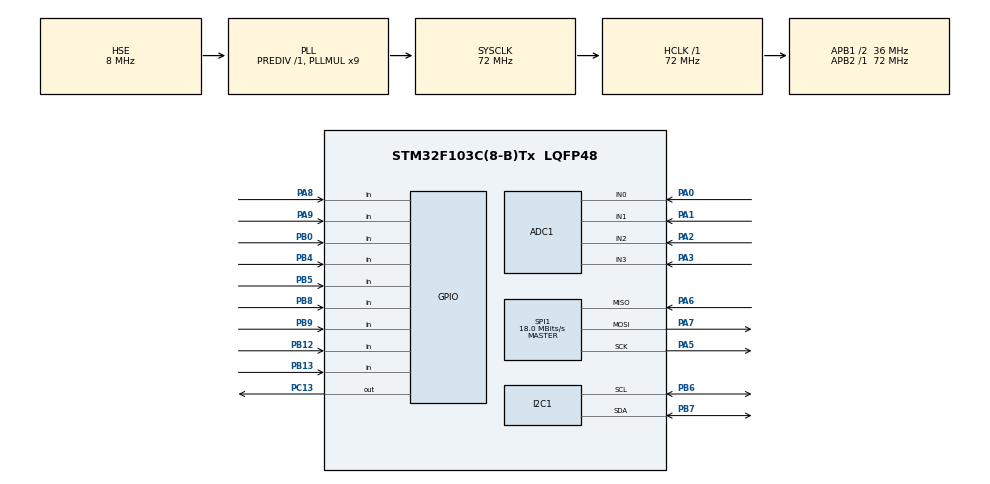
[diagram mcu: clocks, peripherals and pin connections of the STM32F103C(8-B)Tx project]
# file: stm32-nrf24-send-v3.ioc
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ADC1.Channel-0\#ChannelRegularConversion=ADC_CHANNEL_0
ADC1.Channel-1\#ChannelRegularConversion=ADC_CHANNEL_1
ADC1.Channel-2\#ChannelRegularConversion=ADC_CHANNEL_2
ADC1.Channel-3\#ChannelRegularConversion=ADC_CHANNEL_3
ADC1.ContinuousConvMode=DISABLE
ADC1.NbrOfConversion=4
ADC1.NbrOfConversionFlag=1
ADC1.Rank-0\#ChannelRegularConversion=1
ADC1.Rank-1\#ChannelRegularConversion=2
ADC1.Rank-2\#ChannelRegularConversion=3
ADC1.Rank-3\#ChannelRegularConversion=4
ADC1.SamplingTime-0\#ChannelRegularConversion=ADC_SAMPLETIME_55CYCLES_5
ADC1.SamplingTime-1\#ChannelRegularConversion=ADC_SAMPLETIME_55CYCLES_5
ADC1.SamplingTime-2\#ChannelRegularConversion=ADC_SAMPLETIME_55CYCLES_5
ADC1.SamplingTime-3\#ChannelRegularConversion=ADC_SAMPLETIME_55CYCLES_5
ADC1.master=1
Dma.ADC1.0.Direction=DMA_PERIPH_TO_MEMORY
Dma.ADC1.0.Instance=DMA1_Channel1
Dma.ADC1.0.MemDataAlignment=DMA_MDATAALIGN_HALFWORD
Dma.ADC1.0.MemInc=DMA_MINC_ENABLE
Dma.ADC1.0.Mode=DMA_NORMAL
Dma.ADC1.0.PeriphDataAlignment=DMA_PDATAALIGN_HALFWORD
Dma.ADC1.0.PeriphInc=DMA_PINC_DISABLE
Dma.ADC1.0.Priority=DMA_PRIORITY_LOW
Dma.Request0=ADC1
FREERTOS.Queues01=adcQueue,1,8,1,Dynamic,NULL,NULL;oledAdcQueue,1,8,1,Dynamic,NULL,NULL;oledSendDataQueue,1,10,1,Dynamic,NULL,NULL
FREERTOS.Tasks01=defaultTask,8,128,StartDefaultTask,Default,NULL,Dynamic,NULL,NULL;nrf24Task,41,128,StartNrf24Task,Default,NULL,Dynamic,NULL,NULL;adcTask,40,128,StartAdcTask,Default,NULL,Dynamic,NULL,NULL;oledTask,9,128,StartOledTask,Default,NULL,Dynamic,NULL,NULL
Mcu.Family=STM32F1
Mcu.Name=STM32F103C(8-B)Tx
Mcu.Package=LQFP48
NVIC.DMA1_Channel1_IRQn=true\:5\:0\:false\:false\:true\:true\:false\:true\:true
NVIC.PriorityGroup=NVIC_PRIORITYGROUP_4
PA0-WKUP.Signal=ADCx_IN0
PA1.Signal=ADCx_IN1
PA13.Mode=Serial_Wire
PA13.Signal=SYS_JTMS-SWDIO
PA14.Mode=Serial_Wire
PA14.Signal=SYS_JTCK-SWCLK
PA2.Signal=ADCx_IN2
PA3.Signal=ADCx_IN3
PA5.Mode=Full_Duplex_Master
PA5.Signal=SPI1_SCK
PA6.Mode=Full_Duplex_Master
PA6.Signal=SPI1_MISO
PA7.Mode=Full_Duplex_Master
PA7.Signal=SPI1_MOSI
PA8.GPIO_PuPd=GPIO_PULLUP
PA8.Signal=GPIO_Input
PA9.GPIO_PuPd=GPIO_PULLUP
PA9.Signal=GPIO_Input
PB0.GPIO_PuPd=GPIO_PULLUP
PB0.Signal=GPIO_Input
PB12.GPIO_PuPd=GPIO_PULLUP
PB12.Signal=GPIO_Input
PB13.GPIO_PuPd=GPIO_PULLUP
PB13.Signal=GPIO_Input
PB4.GPIO_PuPd=GPIO_PULLUP
PB4.Signal=GPIO_Input
PB5.GPIO_PuPd=GPIO_PULLUP
PB5.Signal=GPIO_Input
PB6.Mode=I2C
PB6.Signal=I2C1_SCL
PB7.Mode=I2C
PB7.Signal=I2C1_SDA
PB8.GPIO_PuPd=GPIO_PULLUP
PB8.Signal=GPIO_Input
PB9.GPIO_PuPd=GPIO_PULLUP
PB9.Signal=GPIO_Input
PC13-TAMPER-RTC.Signal=GPIO_Output
PD0-OSC_IN.Mode=HSE-External-Oscillator
PD0-OSC_IN.Signal=RCC_OSC_IN
PD1-OSC_OUT.Mode=HSE-External-Oscillator
PD1-OSC_OUT.Signal=RCC_OSC_OUT
ProjectManager.HeapSize=0x200
ProjectManager.StackSize=0x400
ProjectManager.TargetToolchain=CMake
RCC.ADCPresc=RCC_ADCPCLK2_DIV6
RCC.AHBFreq_Value=72000000
RCC.APB1CLKDivider=RCC_HCLK_DIV2
RCC.APB1Freq_Value=36000000
RCC.APB1TimFreq_Value=72000000
RCC.APB2Freq_Value=72000000
RCC.APB2TimFreq_Value=72000000
RCC.HCLKFreq_Value=72000000
RCC.PLLMUL=RCC_PLL_MUL9
RCC.PLLSourceVirtual=RCC_PLLSOURCE_HSE
RCC.SYSCLKFreq_VALUE=72000000
RCC.SYSCLKSource=RCC_SYSCLKSOURCE_PLLCLK
RCC.USBFreq_Value=72000000
SH.ADCx_IN0.0=ADC1_IN0,IN0
SH.ADCx_IN1.0=ADC1_IN1,IN1
SH.ADCx_IN2.0=ADC1_IN2,IN2
SH.ADCx_IN3.0=ADC1_IN3,IN3
SPI1.BaudRatePrescaler=SPI_BAUDRATEPRESCALER_4
SPI1.CalculateBaudRate=18.0 MBits/s
SPI1.Direction=SPI_DIRECTION_2LINES
SPI1.Mode=SPI_MODE_MASTER
SPI1.VirtualType=VM_MASTER
VP_FREERTOS_VS_CMSIS_V2.Mode=CMSIS_V2
board=custom

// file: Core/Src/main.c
/* USER CODE BEGIN Header */
/**
  ******************************************************************************
  * @file           : main.c
  * @brief          : Main program body
  ******************************************************************************
  * @attention
  *
  * Copyright (c) 2026 STMicroelectronics.
  * All rights reserved.
  *
  * This software is licensed under terms that can be found in the LICENSE file
  * in the root directory of this software component.
  * If no LICENSE file comes with this software, it is provided AS-IS.
  *
  ******************************************************************************
  */
/* USER CODE END Header */
#include "main.h"
#include "cmsis_os.h"
#include "adc.h"
#include "dma.h"
#include "i2c.h"
#include "spi.h"
#include "gpio.h"

void SystemClock_Config(void);
void MX_FREERTOS_Init(void);

int main(void)
{

  /* MCU Configuration--------------------------------------------------------*/

  /* Reset of all peripherals, Initializes the Flash interface and the Systick. */
  HAL_Init();

  /* Configure the system clock */
  SystemClock_Config();

  /* Initialize all configured peripherals */
  MX_GPIO_Init();
  MX_DMA_Init();
  MX_ADC1_Init();
  MX_I2C1_Init();
  MX_SPI1_Init();

  /* Init scheduler */
  osKernelInitialize();

  /* Call init function for freertos objects (in cmsis_os2.c) */
  MX_FREERTOS_Init();

  /* Start scheduler */
  osKernelStart();

  /* We should never get here as control is now taken by the scheduler */

  /* Infinite loop */
  while (1)
  {

  }
}

void SystemClock_Config(void)
{
  RCC_OscInitTypeDef RCC_OscInitStruct = {0};
  RCC_ClkInitTypeDef RCC_ClkInitStruct = {0};
  RCC_PeriphCLKInitTypeDef PeriphClkInit = {0};

  /** Initializes the RCC Oscillators according to the specified parameters
  * in the RCC_OscInitTypeDef structure.
  */
  RCC_OscInitStruct.OscillatorType = RCC_OSCILLATORTYPE_HSE;
  RCC_OscInitStruct.HSEState = RCC_HSE_ON;
  RCC_OscInitStruct.HSEPredivValue = RCC_HSE_PREDIV_DIV1;
  RCC_OscInitStruct.HSIState = RCC_HSI_ON;
  RCC_OscInitStruct.PLL.PLLState = RCC_PLL_ON;
  RCC_OscInitStruct.PLL.PLLSource = RCC_PLLSOURCE_HSE;
  RCC_OscInitStruct.PLL.PLLMUL = RCC_PLL_MUL9;
  if (HAL_RCC_OscConfig(&RCC_OscInitStruct) != HAL_OK)
  {
    Error_Handler();
  }

  /** Initializes the CPU, AHB and APB buses clocks
  */
  RCC_ClkInitStruct.ClockType = RCC_CLOCKTYPE_HCLK|RCC_CLOCKTYPE_SYSCLK
                              |RCC_CLOCKTYPE_PCLK1|RCC_CLOCKTYPE_PCLK2;
  RCC_ClkInitStruct.SYSCLKSource = RCC_SYSCLKSOURCE_PLLCLK;
  RCC_ClkInitStruct.AHBCLKDivider = RCC_SYSCLK_DIV1;
  RCC_ClkInitStruct.APB1CLKDivider = RCC_HCLK_DIV2;
  RCC_ClkInitStruct.APB2CLKDivider = RCC_HCLK_DIV1;

  if (HAL_RCC_ClockConfig(&RCC_ClkInitStruct, FLASH_LATENCY_2) != HAL_OK)
  {
    Error_Handler();
  }
  PeriphClkInit.PeriphClockSelection = RCC_PERIPHCLK_ADC;
  PeriphClkInit.AdcClockSelection = RCC_ADCPCLK2_DIV6;
  if (HAL_RCCEx_PeriphCLKConfig(&PeriphClkInit) != HAL_OK)
  {
    Error_Handler();
  }
}

void Error_Handler(void)
{
  __disable_irq();
  while (1)
  {
  }
}

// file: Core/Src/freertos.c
/* USER CODE BEGIN Header */
/**
 ******************************************************************************
 * File Name          : freertos.c
 * Description        : Code for freertos applications
 ******************************************************************************
 * @attention
 *
 * Copyright (c) 2026 STMicroelectronics.
 * All rights reserved.
 *
 * This software is licensed under terms that can be found in the LICENSE file
 * in the root directory of this software component.
 * If no LICENSE file comes with this software, it is provided AS-IS.
 *
 ******************************************************************************
 */
/* USER CODE END Header */

#include "FreeRTOS.h"
#include "cmsis_os.h"
#include "main.h"
#include "task.h"

/* USER CODE BEGIN Includes */
#include "adc.h"
#include "nrf24.h"
#include "oled.h"
#include "spi.h"
#include "utils.h"
#include <stdint.h>

/* USER CODE END Includes */

/* Definitions for defaultTask */
osThreadId_t defaultTaskHandle;
const osThreadAttr_t defaultTask_attributes = {
    .name = "defaultTask",
    .stack_size = 128 * 4,
    .priority = (osPriority_t)osPriorityLow,
};
/* Definitions for nrf24Task */
osThreadId_t nrf24TaskHandle;
const osThreadAttr_t nrf24Task_attributes = {
    .name = "nrf24Task",
    .stack_size = 128 * 4,
    .priority = (osPriority_t)osPriorityHigh1,
};
/* Definitions for adcTask */
osThreadId_t adcTaskHandle;
const osThreadAttr_t adcTask_attributes = {
    .name = "adcTask",
    .stack_size = 128 * 4,
    .priority = (osPriority_t)osPriorityHigh,
};
/* Definitions for oledTask */
osThreadId_t oledTaskHandle;
const osThreadAttr_t oledTask_attributes = {
    .name = "oledTask",
    .stack_size = 128 * 4,
    .priority = (osPriority_t)osPriorityLow1,
};
/* Definitions for adcQueue */
osMessageQueueId_t adcQueueHandle;
const osMessageQueueAttr_t adcQueue_attributes = {.name = "adcQueue"};
/* Definitions for oledAdcQueue */
osMessageQueueId_t oledAdcQueueHandle;
const osMessageQueueAttr_t oledAdcQueue_attributes = {.name = "oledAdcQueue"};
/* Definitions for oledSendDataQueue */
osMessageQueueId_t oledSendDataQueueHandle;
const osMessageQueueAttr_t oledSendDataQueue_attributes = {
    .name = "oledSendDataQueue"};

void StartDefaultTask(void *argument);
void StartNrf24Task(void *argument);
void StartAdcTask(void *argument);
void StartOledTask(void *argument);

void MX_FREERTOS_Init(void); /* (MISRA C 2004 rule 8.1) */

void MX_FREERTOS_Init(void) {

  /* Create the queue(s) */
  /* creation of adcQueue */
  adcQueueHandle = osMessageQueueNew(1, 8, &adcQueue_attributes);

  /* creation of oledAdcQueue */
  oledAdcQueueHandle = osMessageQueueNew(1, 8, &oledAdcQueue_attributes);

  /* creation of oledSendDataQueue */
  oledSendDataQueueHandle =
      osMessageQueueNew(1, 10, &oledSendDataQueue_attributes);

  /* Create the thread(s) */
  /* creation of defaultTask */
  defaultTaskHandle =
      osThreadNew(StartDefaultTask, NULL, &defaultTask_attributes);

  /* creation of nrf24Task */
  nrf24TaskHandle = osThreadNew(StartNrf24Task, NULL, &nrf24Task_attributes);

  /* creation of adcTask */
  adcTaskHandle = osThreadNew(StartAdcTask, NULL, &adcTask_attributes);

  /* creation of oledTask */
  oledTaskHandle = osThreadNew(StartOledTask, NULL, &oledTask_attributes);

}

void StartDefaultTask(void *argument) {
  /* USER CODE BEGIN StartDefaultTask */
  /* Infinite loop */
  (void)argument;
  for (;;) {
    // HAL_GPIO_TogglePin(GPIOC, GPIO_PIN_13);
    osDelay(1000);
  }
  /* USER CODE END StartDefaultTask */
}

void StartNrf24Task(void *argument) {
  /* USER CODE BEGIN StartNrf24Task */
  /* Infinite loop */
  (void)argument;
  HAL_GPIO_WritePin(GPIOC, GPIO_PIN_13, SET);
  osStatus_t osStatus;
  uint16_t adcVal[4] = {0, 0, 0, 0};
  uint8_t sendData[10] = {0, 0, 0, 0, 0, 0, 0, 0, 0, 0};

  // 初始化NRF24L01
  NRF24_Init(&hspi1);

  // 检测NRF24L01是否存在
  if (NRF24_Check() != 1) {
    // 未检测到NRF24L01，可以在这里添加错误处理
    while (1)
      ;
  }
  // 设置为发送模式
  NRF24_SetTxMode(nrf24_addr);

  // uint16_t temp_data[5];
  // uint8_t sendData[3] = {0, 0, 100};
  // osStatus_t osStatus;
  for (;;) {
    osStatus = osMessageQueueGet(adcQueueHandle, adcVal, NULL, osWaitForever);

    if (osStatus == osOK) {

      for (uint8_t i = 0; i < sizeof(sendData) / sizeof(sendData[0]); i++) {
        if (adcVal[i] >= 2100)
          sendData[i] = mapVal(2100, 4095, 101, 200, adcVal[i]);
        else if (adcVal[i] <= 1900)
          sendData[i] = mapVal(0, 1900, 0, 99, adcVal[i]);
        else
          sendData[i] = 100;
      }
      if (HAL_GPIO_ReadPin(GPIOB, GPIO_PIN_8) == RESET) {
        // 如果PB12引脚为低电平，则将发送数据取反
        sendData[4] = 0;
      } else if (HAL_GPIO_ReadPin(GPIOB, GPIO_PIN_9) == RESET) {
        // 如果PB12引脚为低电平，则将发送数据取反
        sendData[4] = 200;
      } else {
        sendData[4] = 100;
      }
      if (HAL_GPIO_ReadPin(GPIOB, GPIO_PIN_5) == RESET) {
        // 如果PB12引脚为低电平，则将发送数据取反
        sendData[5] = 0;
      } else if (HAL_GPIO_ReadPin(GPIOB, GPIO_PIN_4) == RESET) {
        // 如果PB12引脚为低电平，则将发送数据取反
        sendData[5] = 200;
      } else {
        sendData[5] = 100;
      }

      if (HAL_GPIO_ReadPin(GPIOB, GPIO_PIN_12) == RESET) {
        // 如果PB12引脚为低电平，则将发送数据取反
        sendData[6] = 0;
      } else if (HAL_GPIO_ReadPin(GPIOB, GPIO_PIN_13) == RESET) {
        // 如果PB12引脚为低电平，则将发送数据取反
        sendData[6] = 200;
      } else {
        sendData[6] = 100;
      }

      if (HAL_GPIO_ReadPin(GPIOA, GPIO_PIN_8) == RESET) {
        // 如果PB12引脚为低电平，则将发送数据取反
        sendData[7] = 0;
      } else if (HAL_GPIO_ReadPin(GPIOA, GPIO_PIN_9) == RESET) {
        // 如果PB12引脚为低电平，则将发送数据取反
        sendData[7] = 200;
      } else {
        sendData[7] = 100;
      }

      osMessageQueuePut(oledSendDataQueueHandle, sendData, 0, 0);
      osMessageQueuePut(oledAdcQueueHandle, adcVal, 0, 0);

      uint8_t status = NRF24_SendData(sendData, 10);
      if (status == 0) {
        // 发送成功
        HAL_GPIO_TogglePin(GPIOC, GPIO_PIN_13);
      } else if (status == 1) {
        // 发送失败，达到最大重发次数
      } else if (status == 2) {
        // 超时未发送成功
      }
    }

    osDelay(20);
  }
  /* USER CODE END StartNrf24Task */
}

void StartAdcTask(void *argument) {
  /* USER CODE BEGIN StartAdcTask */
  /* Infinite loop */
  (void)argument;
  uint16_t adcVal[4] = {0, 0, 0, 0};
  uint16_t old_msg[4] = {0, 0, 0, 0};
  uint16_t queue_count;
  // 校准 ADC
  HAL_ADCEx_Calibration_Start(&hadc1);

  // // 启动第一次 ADC DMA 转换
  // HAL_ADC_Start_DMA(&hadc1, (uint32_t *)adcVal, 4);
  /* Infinite loop */
  for (;;) {

    HAL_ADC_Start_DMA(&hadc1, (uint32_t *)adcVal, 4);

    // 2. 检查队列当前消息数（非阻塞）
    queue_count = osMessageQueueGetCount(adcQueueHandle);

    // 3. 如果队列已满（有未被读取的旧消息），先清空旧消息
    if (queue_count > 0) {
      // 非阻塞读取旧消息（丢弃，不处理）
      osMessageQueueGet(adcQueueHandle, old_msg, NULL, 0);
    }

    osMessageQueuePut(adcQueueHandle, adcVal, 0, 0);
    // tx_data[0] = 0;

    // uint8_t status = NRF24_SendData(tx_data, 5);
    osDelay(20);
  }
  /* USER CODE END StartAdcTask */
}

void StartOledTask(void *argument) {
  /* USER CODE BEGIN StartOledTask */
  /* Infinite loop */
  (void)argument;
  uint16_t oledAdcVal[4] = {0, 0, 0, 0};
  uint8_t oledSendDataVal[10] = {0, 0, 0, 0, 0, 0, 0, 0};
  osStatus_t osAdcStatus;
  osStatus_t osSendDataStatus;
  OLED_Init();
  OLED_ShowString(0, 0, "init");
  OLED_Refresh();
  for (;;) {
    OLED_Clear();
    // 阻塞读取消息（永久等待）
    osAdcStatus =
        osMessageQueueGet(oledAdcQueueHandle, oledAdcVal, NULL, osWaitForever);
    if (osAdcStatus == osOK) {
      OLED_ShowNum(0, 0, oledAdcVal[0]);
      OLED_ShowNum(30, 0, oledAdcVal[1]);
      OLED_ShowNum(60, 0, oledAdcVal[2]);
      OLED_ShowNum(90, 0, oledAdcVal[3]);
    }

    osSendDataStatus = osMessageQueueGet(oledSendDataQueueHandle,
                                         oledSendDataVal, NULL, osWaitForever);
    if (osSendDataStatus == osOK) {

      OLED_ShowNum(0, 1, oledSendDataVal[0]);
      OLED_ShowNum(30, 1, oledSendDataVal[1]);
      OLED_ShowNum(60, 1, oledSendDataVal[2]);
      OLED_ShowNum(90, 1, oledSendDataVal[3]);
    }
    OLED_Refresh();
    osDelay(100);
  }
  /* USER CODE END StartOledTask */
}
